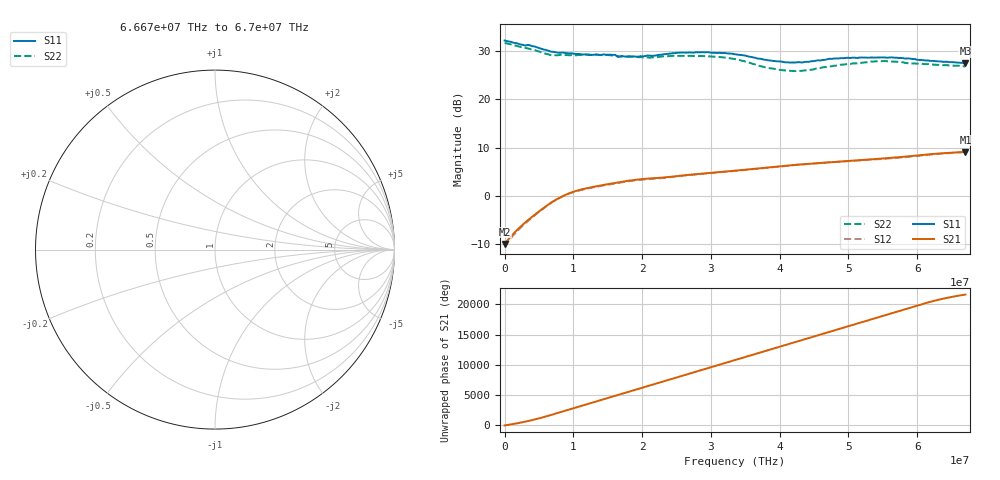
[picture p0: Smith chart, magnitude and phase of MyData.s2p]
#521361!Ceyear Technologies,3672E,ZKJ00317,2.1.6
!Calibration ON : 2P/1,3
!Sweep Type: lin Frequency Sweep
!S2P File: Measurements: S11, S31, S13, S33:
!Tuesday, January 16, 2024  18 : 22
! # Hz  S  dB  R 50.000
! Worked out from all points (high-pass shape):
!   201 points, 1e+04 THz to 6.7e+07 THz, reference 50 ohm
!   highest |S21| = 9.11 dB at 6.7e+07 THz (marker M1); lowest = -10.0 dB at 1e+04 THz (marker M2)
!   |S21| within 3 dB of the highest: 3.997e+07 THz to end of sweep
!   lowest |S11| = 27.5 dB at 6.7e+07 THz (marker M3)
!   |S11| at or under -10 dB: nowhere
!   |S22| runs from 25.9 to 31.7 dB; largest |S21 - S12| = 0.038
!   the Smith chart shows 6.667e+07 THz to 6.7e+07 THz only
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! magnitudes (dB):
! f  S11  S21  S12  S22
! 1e+04 THz  32.2  -10.0  -10.4  31.7
! 1.35e+06 THz  31.7  -7.8  -8.1  31.2
! 2.69e+06 THz  31.3  -5.9  -6.2  30.8
! 3.694e+06 THz  31.2  -4.7  -4.9  30.5
! 6.709e+06 THz  29.9  -1.5  -1.5  29.2
! 9.054e+06 THz  29.6  0.3  0.2  29.2
! 1.14e+07 THz  29.3  1.4  1.3  29.2
! 1.609e+07 THz  29.3  2.7  2.6  29.0
! 1.642e+07 THz  28.9  2.8  2.6  29.0
! 1.676e+07 THz  28.8  2.8  2.7  28.9
! 2.111e+07 THz  29.1  3.6  3.5  28.6
! 2.245e+07 THz  29.2  3.7  3.6  28.8
! 2.781e+07 THz  29.8  4.5  4.4  29.0
! 3.35e+07 THz  29.4  5.2  5.1  28.3
! 3.752e+07 THz  28.3  5.8  5.7  26.8
! 3.987e+07 THz  27.9  6.1  6.0  26.2
! 4.221e+07 THz  27.6  6.4  6.4  25.9
! 4.489e+07 THz  27.9  6.7  6.7  26.2
! 4.891e+07 THz  28.6  7.1  7.1  27.2
! 5.327e+07 THz  28.7  7.5  7.5  27.9
! 5.595e+07 THz  28.7  7.8  7.7  27.9
! 6.7e+07 THz  27.5  9.1  9.1  26.8
